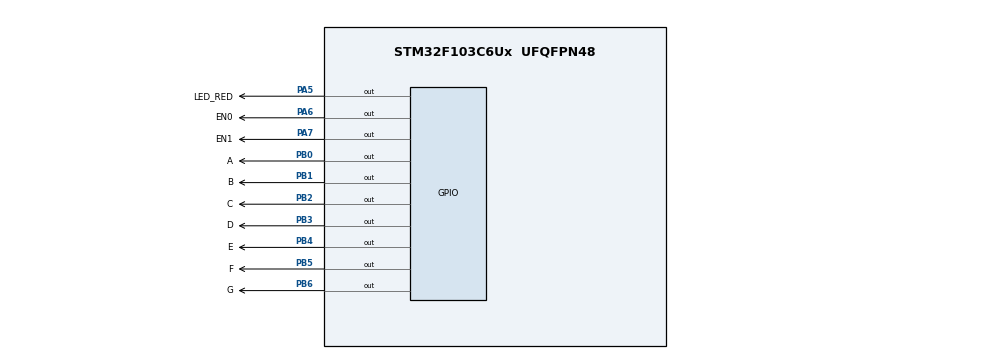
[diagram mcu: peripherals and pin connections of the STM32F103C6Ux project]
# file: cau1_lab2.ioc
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Mcu.Family=STM32F1
Mcu.Name=STM32F103C6Ux
Mcu.Package=UFQFPN48
NVIC.PriorityGroup=NVIC_PRIORITYGROUP_4
NVIC.TIM2_IRQn=true\:0\:0\:false\:false\:true\:true\:true\:true
PA5.GPIO_Label=LED_RED
PA5.Signal=GPIO_Output
PA6.GPIO_Label=EN0
PA6.Signal=GPIO_Output
PA7.GPIO_Label=EN1
PA7.Signal=GPIO_Output
PB0.GPIO_Label=A
PB0.Signal=GPIO_Output
PB1.GPIO_Label=B
PB1.Signal=GPIO_Output
PB2.GPIO_Label=C
PB2.Signal=GPIO_Output
PB3.GPIO_Label=D
PB3.Signal=GPIO_Output
PB4.GPIO_Label=E
PB4.Signal=GPIO_Output
PB5.GPIO_Label=F
PB5.Signal=GPIO_Output
PB6.GPIO_Label=G
PB6.Signal=GPIO_Output
ProjectManager.HeapSize=0x200
ProjectManager.StackSize=0x400
ProjectManager.TargetToolchain=STM32CubeIDE
RCC.APB1Freq_Value=8000000
RCC.APB2Freq_Value=8000000
TIM2.Period=9
TIM2.Prescaler=7999
VP_TIM2_VS_ClockSourceINT.Mode=Internal
board=custom

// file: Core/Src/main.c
/* USER CODE BEGIN Header */
/**
  ******************************************************************************
  * @file           : main.c
  * @brief          : Main program body
  ******************************************************************************
  * @attention
  *
  * Copyright (c) 2022 STMicroelectronics.
  * All rights reserved.
  *
  * This software is licensed under terms that can be found in the LICENSE file
  * in the root directory of this software component.
  * If no LICENSE file comes with this software, it is provided AS-IS.
  *
  ******************************************************************************
  */
/* USER CODE END Header */
#include "main.h"

/* USER CODE BEGIN Includes */

#include "cau1_header.h"

/* USER CODE END Includes */

TIM_HandleTypeDef htim2;

/* USER CODE BEGIN PV */

	int state = 1;

/* USER CODE END PV */

void SystemClock_Config(void);
static void MX_GPIO_Init(void);
static void MX_TIM2_Init(void);
/* USER CODE BEGIN PFP */

void display7SEG(int num)
{
	if (num == 0)
	{
		HAL_GPIO_WritePin(A_GPIO_Port,A_Pin,0);
		HAL_GPIO_WritePin(B_GPIO_Port,B_Pin,0);
		HAL_GPIO_WritePin(C_GPIO_Port,C_Pin,0);
		HAL_GPIO_WritePin(D_GPIO_Port,D_Pin,0);
		HAL_GPIO_WritePin(E_GPIO_Port,E_Pin,0);
		HAL_GPIO_WritePin(F_GPIO_Port,F_Pin,0);
		HAL_GPIO_WritePin(G_GPIO_Port,G_Pin,1);
	}
	if (num == 1)
	{
		HAL_GPIO_WritePin(A_GPIO_Port,A_Pin,1);
		HAL_GPIO_WritePin(B_GPIO_Port,B_Pin,0);
		HAL_GPIO_WritePin(C_GPIO_Port,C_Pin,0);
		HAL_GPIO_WritePin(D_GPIO_Port,D_Pin,1);
		HAL_GPIO_WritePin(E_GPIO_Port,E_Pin,1);
		HAL_GPIO_WritePin(F_GPIO_Port,F_Pin,1);
		HAL_GPIO_WritePin(G_GPIO_Port,G_Pin,1);
	}
	if (num == 2)
	{
		HAL_GPIO_WritePin(A_GPIO_Port,A_Pin,0);
		HAL_GPIO_WritePin(B_GPIO_Port,B_Pin,0);
		HAL_GPIO_WritePin(C_GPIO_Port,C_Pin,1);
		HAL_GPIO_WritePin(D_GPIO_Port,D_Pin,0);
		HAL_GPIO_WritePin(E_GPIO_Port,E_Pin,0);
		HAL_GPIO_WritePin(F_GPIO_Port,F_Pin,1);
		HAL_GPIO_WritePin(G_GPIO_Port,G_Pin,0);
	}
	if (num == 3)
	{
		HAL_GPIO_WritePin(A_GPIO_Port,A_Pin,0);
		HAL_GPIO_WritePin(B_GPIO_Port,B_Pin,0);
		HAL_GPIO_WritePin(C_GPIO_Port,C_Pin,0);
		HAL_GPIO_WritePin(D_GPIO_Port,D_Pin,0);
		HAL_GPIO_WritePin(E_GPIO_Port,E_Pin,1);
		HAL_GPIO_WritePin(F_GPIO_Port,F_Pin,1);
		HAL_GPIO_WritePin(G_GPIO_Port,G_Pin,0);
	}
	if (num == 4)
	{
		HAL_GPIO_WritePin(A_GPIO_Port,A_Pin,1);
		HAL_GPIO_WritePin(B_GPIO_Port,B_Pin,0);
		HAL_GPIO_WritePin(C_GPIO_Port,C_Pin,0);
		HAL_GPIO_WritePin(D_GPIO_Port,D_Pin,1);
		HAL_GPIO_WritePin(E_GPIO_Port,E_Pin,1);
		HAL_GPIO_WritePin(F_GPIO_Port,F_Pin,0);
		HAL_GPIO_WritePin(G_GPIO_Port,G_Pin,0);
	}
	if (num == 5)
	{
		HAL_GPIO_WritePin(A_GPIO_Port,A_Pin,0);
		HAL_GPIO_WritePin(B_GPIO_Port,B_Pin,1);
		HAL_GPIO_WritePin(C_GPIO_Port,C_Pin,0);
		HAL_GPIO_WritePin(D_GPIO_Port,D_Pin,0);
		HAL_GPIO_WritePin(E_GPIO_Port,E_Pin,1);
		HAL_GPIO_WritePin(F_GPIO_Port,F_Pin,0);
		HAL_GPIO_WritePin(G_GPIO_Port,G_Pin,0);
	}
	if (num == 6)
	{
		HAL_GPIO_WritePin(A_GPIO_Port,A_Pin,0);
		HAL_GPIO_WritePin(B_GPIO_Port,B_Pin,1);
		HAL_GPIO_WritePin(C_GPIO_Port,C_Pin,0);
		HAL_GPIO_WritePin(D_GPIO_Port,D_Pin,0);
		HAL_GPIO_WritePin(E_GPIO_Port,E_Pin,0);
		HAL_GPIO_WritePin(F_GPIO_Port,F_Pin,0);
		HAL_GPIO_WritePin(G_GPIO_Port,G_Pin,0);
	}
	if (num == 7)
	{
		HAL_GPIO_WritePin(A_GPIO_Port,A_Pin,0);
		HAL_GPIO_WritePin(B_GPIO_Port,B_Pin,0);
		HAL_GPIO_WritePin(C_GPIO_Port,C_Pin,0);
		HAL_GPIO_WritePin(D_GPIO_Port,D_Pin,1);
		HAL_GPIO_WritePin(E_GPIO_Port,E_Pin,1);
		HAL_GPIO_WritePin(F_GPIO_Port,F_Pin,1);
		HAL_GPIO_WritePin(G_GPIO_Port,G_Pin,1);
	}
	if (num == 8)
	{
		HAL_GPIO_WritePin(A_GPIO_Port,A_Pin,0);
		HAL_GPIO_WritePin(B_GPIO_Port,B_Pin,0);
		HAL_GPIO_WritePin(C_GPIO_Port,C_Pin,0);
		HAL_GPIO_WritePin(D_GPIO_Port,D_Pin,0);
		HAL_GPIO_WritePin(E_GPIO_Port,E_Pin,0);
		HAL_GPIO_WritePin(F_GPIO_Port,F_Pin,0);
		HAL_GPIO_WritePin(G_GPIO_Port,G_Pin,0);
	}
	if (num == 9)
	{
		HAL_GPIO_WritePin(A_GPIO_Port,A_Pin,0);
		HAL_GPIO_WritePin(B_GPIO_Port,B_Pin,0);
		HAL_GPIO_WritePin(C_GPIO_Port,C_Pin,0);
		HAL_GPIO_WritePin(D_GPIO_Port,D_Pin,0);
		HAL_GPIO_WritePin(E_GPIO_Port,E_Pin,1);
		HAL_GPIO_WritePin(F_GPIO_Port,F_Pin,0);
		HAL_GPIO_WritePin(G_GPIO_Port,G_Pin,0);
	}
}

/* USER CODE END PFP */

int main(void)
{

  /* MCU Configuration--------------------------------------------------------*/

  /* Reset of all peripherals, Initializes the Flash interface and the Systick. */
  HAL_Init();

  /* Configure the system clock */
  SystemClock_Config();

  /* Initialize all configured peripherals */
  MX_GPIO_Init();
  MX_TIM2_Init();
  /* USER CODE BEGIN 2 */

  HAL_TIM_Base_Start_IT(&htim2);

  /* USER CODE END 2 */

  /* Infinite loop */
  /* USER CODE BEGIN WHILE */

  setTimer1(50);

  while (1)
  {
	  if(timer1_flag == 1)
	  {
		  switch(state)
		  {
		  case 1:
		  {
			  setTimer1(50);

			  display7SEG(1);
			  HAL_GPIO_TogglePin(LED_RED_GPIO_Port, LED_RED_Pin);

			  HAL_GPIO_WritePin(EN0_GPIO_Port, EN0_Pin, 0);	// seg 1 on
			  HAL_GPIO_WritePin(EN1_GPIO_Port, EN1_Pin, 1);	// seg 2 off
			  state = 2;
			  break;
		  }
		  default:
		  {
			  setTimer1(50);

		  	  display7SEG(2);
			  HAL_GPIO_TogglePin(LED_RED_GPIO_Port, LED_RED_Pin);

			  HAL_GPIO_WritePin(EN0_GPIO_Port, EN0_Pin, 1);	// seg 1 off
			  HAL_GPIO_WritePin(EN1_GPIO_Port, EN1_Pin, 0);	// seg 2 on
			  state = 1;
		  }
	  	  }
	  }

    /* USER CODE END WHILE */

}}

void SystemClock_Config(void)
{
  RCC_OscInitTypeDef RCC_OscInitStruct = {0};
  RCC_ClkInitTypeDef RCC_ClkInitStruct = {0};

  /** Initializes the RCC Oscillators according to the specified parameters
  * in the RCC_OscInitTypeDef structure.
  */
  RCC_OscInitStruct.OscillatorType = RCC_OSCILLATORTYPE_HSI;
  RCC_OscInitStruct.HSIState = RCC_HSI_ON;
  RCC_OscInitStruct.HSICalibrationValue = RCC_HSICALIBRATION_DEFAULT;
  RCC_OscInitStruct.PLL.PLLState = RCC_PLL_NONE;
  if (HAL_RCC_OscConfig(&RCC_OscInitStruct) != HAL_OK)
  {
    Error_Handler();
  }

  /** Initializes the CPU, AHB and APB buses clocks
  */
  RCC_ClkInitStruct.ClockType = RCC_CLOCKTYPE_HCLK|RCC_CLOCKTYPE_SYSCLK
                              |RCC_CLOCKTYPE_PCLK1|RCC_CLOCKTYPE_PCLK2;
  RCC_ClkInitStruct.SYSCLKSource = RCC_SYSCLKSOURCE_HSI;
  RCC_ClkInitStruct.AHBCLKDivider = RCC_SYSCLK_DIV1;
  RCC_ClkInitStruct.APB1CLKDivider = RCC_HCLK_DIV1;
  RCC_ClkInitStruct.APB2CLKDivider = RCC_HCLK_DIV1;

  if (HAL_RCC_ClockConfig(&RCC_ClkInitStruct, FLASH_LATENCY_0) != HAL_OK)
  {
    Error_Handler();
  }
}

static void MX_TIM2_Init(void)
{

  TIM_ClockConfigTypeDef sClockSourceConfig = {0};
  TIM_MasterConfigTypeDef sMasterConfig = {0};

  htim2.Instance = TIM2;
  htim2.Init.Prescaler = 7999;
  htim2.Init.CounterMode = TIM_COUNTERMODE_UP;
  htim2.Init.Period = 9;
  htim2.Init.ClockDivision = TIM_CLOCKDIVISION_DIV1;
  htim2.Init.AutoReloadPreload = TIM_AUTORELOAD_PRELOAD_DISABLE;
  if (HAL_TIM_Base_Init(&htim2) != HAL_OK)
  {
    Error_Handler();
  }
  sClockSourceConfig.ClockSource = TIM_CLOCKSOURCE_INTERNAL;
  if (HAL_TIM_ConfigClockSource(&htim2, &sClockSourceConfig) != HAL_OK)
  {
    Error_Handler();
  }
  sMasterConfig.MasterOutputTrigger = TIM_TRGO_RESET;
  sMasterConfig.MasterSlaveMode = TIM_MASTERSLAVEMODE_DISABLE;
  if (HAL_TIMEx_MasterConfigSynchronization(&htim2, &sMasterConfig) != HAL_OK)
  {
    Error_Handler();
  }

}

static void MX_GPIO_Init(void)
{
  GPIO_InitTypeDef GPIO_InitStruct = {0};

  /* GPIO Ports Clock Enable */
  __HAL_RCC_GPIOA_CLK_ENABLE();
  __HAL_RCC_GPIOB_CLK_ENABLE();

  /*Configure GPIO pin Output Level */
  HAL_GPIO_WritePin(GPIOA, LED_RED_Pin|EN0_Pin|EN1_Pin, GPIO_PIN_RESET);

  /*Configure GPIO pin Output Level */
  HAL_GPIO_WritePin(GPIOB, A_Pin|B_Pin|C_Pin|D_Pin
                          |E_Pin|F_Pin|G_Pin, GPIO_PIN_RESET);

  /*Configure GPIO pins : LED_RED_Pin EN0_Pin EN1_Pin */
  GPIO_InitStruct.Pin = LED_RED_Pin|EN0_Pin|EN1_Pin;
  GPIO_InitStruct.Mode = GPIO_MODE_OUTPUT_PP;
  GPIO_InitStruct.Pull = GPIO_NOPULL;
  GPIO_InitStruct.Speed = GPIO_SPEED_FREQ_LOW;
  HAL_GPIO_Init(GPIOA, &GPIO_InitStruct);

  /*Configure GPIO pins : A_Pin B_Pin C_Pin D_Pin
                           E_Pin F_Pin G_Pin */
  GPIO_InitStruct.Pin = A_Pin|B_Pin|C_Pin|D_Pin
                          |E_Pin|F_Pin|G_Pin;
  GPIO_InitStruct.Mode = GPIO_MODE_OUTPUT_PP;
  GPIO_InitStruct.Pull = GPIO_NOPULL;
  GPIO_InitStruct.Speed = GPIO_SPEED_FREQ_LOW;
  HAL_GPIO_Init(GPIOB, &GPIO_InitStruct);

}

/* USER CODE BEGIN 4 */

	void HAL_TIM_PeriodElapsedCallback (TIM_HandleTypeDef *htim )
	{
		timeRun();
	}

/* USER CODE END 4 */

void Error_Handler(void)
{
  __disable_irq();
  while (1)
  {
  }
}
